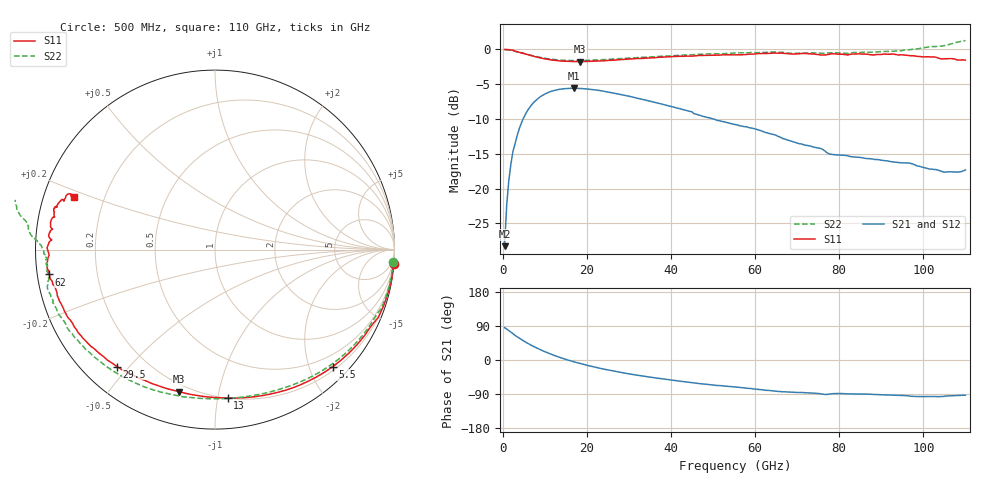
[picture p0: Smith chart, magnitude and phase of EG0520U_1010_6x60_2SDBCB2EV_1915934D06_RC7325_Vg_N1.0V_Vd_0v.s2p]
!File name = EG0520U_1010_6x60_2SDBCB2EV_1915934D06_RC7325_Vg_N1.0V_Vd_0v.s2p
!Base file name = EG0520U_1010_6x60_2SDBCB2EV_1915934D06_RC7325
!Date = 8/23/2019
!Time = 1:07 PM
!Test duration(min) = 0.15
!Test = S-Parameters
!MPTS version = 8.91.5
!State File = C:\Data\PNA\20190821205423\S-Parameters_2019-08-23.sta
!Cal File =
!ComputerName = CMPE-LAB-6
!Comments =
!Attenuation = 0
!Z0 = 50
!Input Power(dBm) = -13.00
!Device ID = EG0520U_1010_6x60_2SDBCB2EV
!Row = 73
!Column = 25
!Technology = QPHT09
!Lot/Wafer = 1915934D06
!Gate Size = 360
!Mask = EG0520
!Cal Standards = GaAs BCB
!Cal Kit = EG2306
!Job Number = 20190821205423
!Device Type = FET
!set_Vg(v) = -1.000
!set_Vd(v) = 0.000
!file_name = EG0520U_1010_6x60_2SDBCB2EV_1915934D06_RC7325_Vg_N1.0V_Vd_0v.s2p
!Vd(V) = 0.000
!Vd(mA) = 0.002
!Vg(V) = -1.000
!Vg(mA) = -0.000
# GHz  S  DB  R  50
!%	Freq(GHz)  s11(dB)  s11(deg)  s21(dB)  s21(deg)  s12(dB)  s12(deg)  s22(dB)  s22(deg)
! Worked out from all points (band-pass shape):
!   220 points, 500 MHz to 110 GHz, reference 50 ohm
!   highest |S21| = -5.59 dB at 17 GHz (marker M1); lowest = -28.3 dB at 500 MHz (marker M2)
!   |S21| within 3 dB of the highest: 6.175 GHz to 42.53 GHz (36.36 GHz wide, 149 % of centre)
!   lowest |S11| = -1.8 dB at 18.5 GHz (marker M3), VSWR 9.92, Z = 8.04 - j38.3 ohm
!   |S11| at or under -10 dB: nowhere
!   |S22| runs from -1.6 to 1.3 dB; largest |S21 - S12| = 0.004
!   S11 on the Smith chart (normalised r, x): 500 MHz: 0, -25; 5.5 GHz: 0.27, -2.39; 13 GHz: 0.20, -1.07; 29.5 GHz: 0.10, -0.46; 62 GHz: 0.03, -0.07; 110 GHz: 0.09, +0.18
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0.5  -0.00 -4.6  -28.28 85.6  -28.28 85.7  -0.03 -3.9
1  -0.02 -9.1  -22.30 81.6  -22.30 81.5  -0.05 -7.8
1.5  -0.05 -13.7  -18.85 77.4  -18.85 77.4  -0.07 -11.7
2  -0.08 -18.1  -16.45 73.4  -16.44 73.4  -0.11 -15.6
3.5  -0.34 -29.9  -12.35 61.1  -12.36 61.1  -0.34 -25.7
5.5  -0.68 -44.9  -9.26 47.2  -9.27 47.2  -0.65 -38.6
8.5  -1.15 -63.6  -7.03 29.8  -7.04 29.7  -1.09 -55.0
13  -1.62 -85.2  -5.80 9.2  -5.82 9.2  -1.50 -74.6
17  -1.75 -99.7  -5.59 -4.8  -5.60 -5.0  -1.60 -88.4
18.5  -1.76 -104.2  -5.62 -9.4  -5.63 -9.5  -1.60 -93.0
19  -1.75 -105.7  -5.64 -10.9  -5.65 -11.0  -1.59 -94.5
29.5  -1.41 -129.9  -6.66 -35.5  -6.68 -35.6  -1.27 -119.9
37  -1.14 -142.0  -7.73 -48.3  -7.75 -48.5  -1.01 -133.4
47  -0.88 -156.1  -9.49 -62.6  -9.52 -62.9  -0.69 -148.3
55.5  -0.79 -165.4  -10.81 -71.3  -10.86 -71.6  -0.51 -157.8
62  -0.59 -171.5  -11.82 -78.9  -11.80 -79.5  -0.43 -164.2
73.5  -0.66 177.9  -13.96 -87.4  -13.97 -87.7  -0.49 -172.7
78  -0.66 175.6  -15.07 -89.2  -15.07 -89.4  -0.49 -175.1
92  -0.70 165.4  -16.10 -92.5  -16.11 -92.7  -0.28 178.7
100  -1.08 162.1  -16.96 -96.5  -16.96 -96.5  0.23 175.6
106.5  -1.34 159.6  -17.59 -94.7  -17.61 -95.1  0.76 170.5
110  -1.55 159.3  -17.32 -92.9  -17.35 -93.5  1.28 165.2
